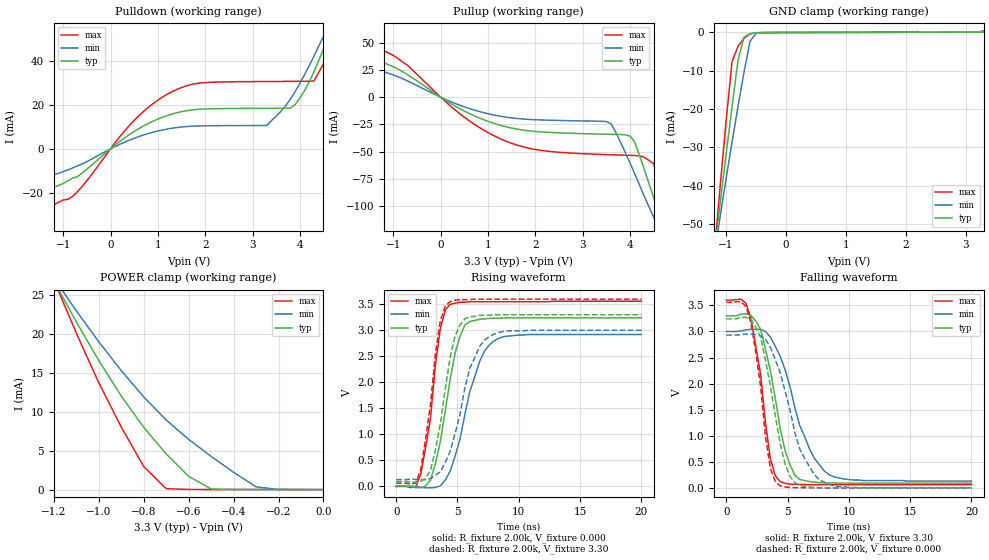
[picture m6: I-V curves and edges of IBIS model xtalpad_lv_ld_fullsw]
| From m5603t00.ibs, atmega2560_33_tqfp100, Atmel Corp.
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|   Model xtalpad_lv_ld_fullsw
[Model]   xtalpad_lv_ld_fullsw
Model_type   I/O
Polarity   Non-Inverting
Enable   Active-High
Vinl =   0.99V
Vinh =   2.31V
Vmeas =   1.65V
Cref =  50.00pF
C_comp   8.28pF   8.18pF   10.38pF
[Temperature Range]   27.00   0.12k   -55.00
[Voltage Range]   3.30V   3.00V   3.60V
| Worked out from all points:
|   slope of the pulldown table from 0 to 0.495 V, typ, clamps not added: 63.5 ohm
|   slope of the pullup table from 0 to 0.495 V, typ, clamps not added: 39.3 ohm
|   GND clamp passes 1 mA (typ) near -0.66 V on its own axis
|   POWER clamp passes 1 mA (typ) near -0.56 V on its own axis
|   rising waveform, R_fixture 2.00k, V_fixture 0.000: 20-80 % time 1.44ns typ, 1.91ns min, 1.12ns max; typ from 0 V to 3.24 V
|   rising waveform, R_fixture 2.00k, V_fixture 3.30: 20-80 % time 1.35ns typ, 1.87ns min, 1.11ns max; typ from 0.091 V to 3.3 V
|   falling waveform, R_fixture 2.00k, V_fixture 3.30: 20-80 % time 1.59ns typ, 2.34ns min, 1.2ns max; typ from 3.3 V to 0.091 V
|   falling waveform, R_fixture 2.00k, V_fixture 0.000: 20-80 % time 1.53ns typ, 2.16ns min, 1.14ns max; typ from 3.24 V to 0 V
[Pulldown]
| voltage   I(typ)   I(min)   I(max)
-3.3V     -29.4mA    -23mA      -34.8mA
-2.1V     -24.3mA    -17.2mA    -32.3mA
-900mV    -14.41mA   -9.42mA    -22.78mA
500mV     7.97mA     4.87mA     12.99mA
1.4V      16.42mA    9.73mA     26.97mA
3.3V      18.42mA    10.64mA    30.56mA
3.8V      18.53mA    22.55mA    30.62mA
4.3V      35mA       42.15mA    30.78mA
4.5V      45.25mA    51.05mA    38.59mA
4.7V      56.28mA    60.16mA    50.66mA
4.9V      67.73mA    69.41mA    64.54mA
6.6V      170mA      150mA      200mA
[Pullup]
| voltage   I(typ)   I(min)   I(max)
-3.3V     51.8mA     43.9mA     63.3mA
-1.9V     42.36mA    32.74mA    55.12mA
-1V       27.97mA    20.42mA    38.34mA
500mV     -12.72mA   -8.83mA    -18.37mA
1.4V      -27.32mA   -18.4mA    -40.68mA
3.5V      -33.95mA   -22.33mA   -52.67mA
3.7V      -34.14mA   -32.25mA   -52.95mA
4.1V      -41.04mA   -70.18mA   -53.48mA
4.5V      -92.05mA   -110mA     -60.85mA
4.7V      -120mA     -130mA     -93.18mA
4.9V      -150mA     -150mA     -130mA
6.6V      -400mA     -350mA     -460mA
[GND_clamp]
| voltage   I(typ)   I(min)   I(max)
-3.3V     -360mA     -290mA     -460mA
-1.2V     -57.98mA   -58.24mA   -58.35mA
-1.1V     -44.74mA   -48.14mA   -40.43mA
-1V       -31.87mA   -38.25mA   -23.28mA
-900mV    -19.47mA   -28.62mA   -7.71mA
-800mV    -7.21mA    -19.31mA   -3.7mA
-700mV    -1.34mA    -10.39mA   -1.61mA
-600mV    -380uA     -2.4mA     -480uA
-500mV    -160uA     -370uA     -170uA
-400mV    -120uA     -140uA     -130uA
3.1V      -6.38uA    4.09uA     -16.25uA
3.3V      140pA      350uA      -9.75uA
[POWER_clamp]
| voltage   I(typ)   I(min)   I(max)
-3.3V     150mA      130mA      190mA
-1.2V     26.82mA    27.17mA    26.9mA
-1.1V     21.56mA    22.98mA    20.12mA
-1V       16.59mA    19mA       13.74mA
-900mV    12.03mA    15.29mA    8.05mA
-800mV    8mA        11.91mA    2.97mA
-700mV    4.59mA     8.95mA     120uA
-600mV    1.71mA     6.45mA     21.95uA
-500mV    80.33uA    4.27mA     16.29uA
-300mV    9.6uA      350uA      9.75uA
-200mV    6.38uA     25.06uA    6.5uA
0V        140pA      4.26nA     110pA
[Ramp]
| variable   typ   min   max
dV/dt_r   1.95/1.41n   1.75/1.90n   2.13/0.98n
dV/dt_f   1.93/1.58n   1.72/2.30n   2.12/1.05n
R_load = 2.00k
[Rising Waveform]
R_fixture = 2.00k
V_fixture = 0.000
V_fixture_min = 0.000
V_fixture_max = 0.000
| time   V(typ)   V(min)   V(max)
0s        0V         4.88uV     0V
1.6ns     -25.33mV   -3.3mV     -6.78mV
2ns       -25.91mV   -18.24mV   230mV
2.8ns     120mV      -29.29mV   1.32V
3.6ns     860mV      7.74mV     3.03V
4.4ns     2.05V      290mV      3.5V
5.6ns     3.1V       1.38V      3.54V
6.8ns     3.21V      2.4V       3.55V
8ns       3.23V      2.8V       3.55V
20ns      3.24V      2.92V      3.56V
[Rising Waveform]
R_fixture = 2.00k
V_fixture = 3.30
V_fixture_min = 3.00
V_fixture_max = 3.60
| time   V(typ)   V(min)   V(max)
0s        90.71mV    130mV      60.5mV
1.6ns     75.69mV    130mV      63.2mV
2ns       95.82mV    120mV      320mV
2.8ns     310mV      150mV      1.58V
3.6ns     1.2V       280mV      3.19V
4.4ns     2.48V      670mV      3.55V
5.2ns     3.1V       1.38V      3.59V
6ns       3.26V      2.27V      3.59V
7.6ns     3.29V      2.88V      3.6V
20ns      3.3V       3V         3.6V
[Falling Waveform]
R_fixture = 2.00k
V_fixture = 3.30
V_fixture_min = 3.00
V_fixture_max = 3.60
| time   V(typ)   V(min)   V(max)
0s        3.3V       3V         3.6V
1.2ns     3.33V      3.01V      3.62V
2ns       3.31V      3.04V      3.26V
2.8ns     3.04V      3.04V      2.17V
3.6ns     2.24V      2.89V      550mV
4.4ns     1.13V      2.52V      120mV
5.6ns     240mV      1.53V      67.13mV
6.8ns     120mV      740mV      62.11mV
8.4ns     93.88mV    250mV      60.9mV
20ns      90.85mV    130mV      60.57mV
[Falling Waveform]
R_fixture = 2.00k
V_fixture = 0.000
V_fixture_min = 0.000
V_fixture_max = 0.000
| time   V(typ)   V(min)   V(max)
0s        3.24V      2.93V      3.56V
1.2ns     3.27V      2.94V      3.57V
2ns       3.23V      2.95V      3.17V
2.8ns     2.89V      2.92V      1.94V
3.6ns     1.95V      2.69V      370mV
4.4ns     840mV      2.2V       36.22mV
5.2ns     220mV      1.49V      8.84mV
6ns       49.01mV    740mV      1.61mV
7.6ns     3.36mV     150mV      560uV
20ns      120uV      160uV      71.76uV
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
